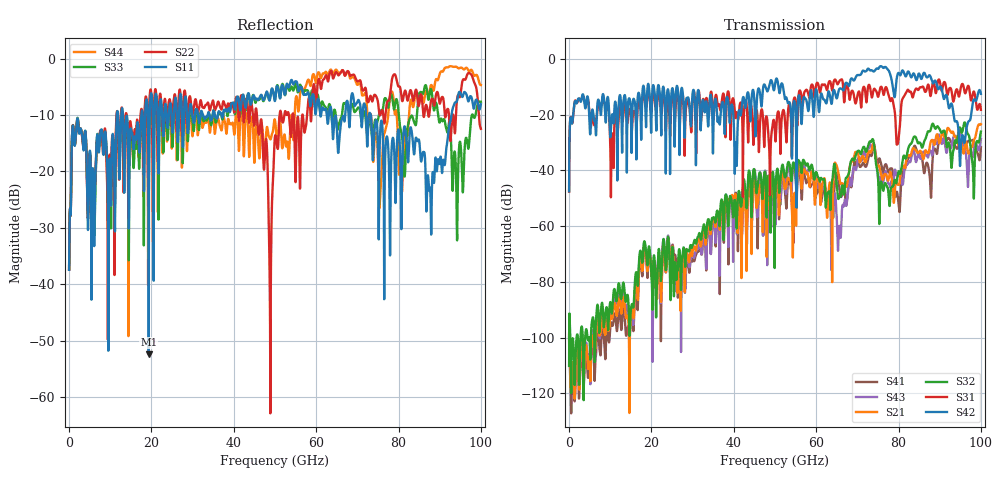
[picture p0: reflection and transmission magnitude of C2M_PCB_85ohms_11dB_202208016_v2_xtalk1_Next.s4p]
! Info: Touchstone file created by Circ.  Input file=Intel_C2M_200G_2p0in_202208016_staggered.circ
# Hz S RI R 50
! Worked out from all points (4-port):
!   10000 points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, 10 MHz to 100 GHz, reference 50 ohm
!   strongest paths, dB at 10 MHz, 25.01 GHz, 50.01 GHz, 75.01 GHz, 100 GHz:
!     S42: -47.5, -10.7, -9.1, -3.6, -12.6
!     S31: -47.6, -12.7, -27.1, -13.6, -18.3
!     S32: -110.1, -68.7, -53.3, -42.4, -26.1
!     S21: -99.3, -67.8, -48.3, -38.4, -23.5
!     S43: -99.7, -68.2, -56.1, -42.7, -28.8
!     S41: -98.7, -67.7, -50.8, -37.6, -31.8
!   lowest |S11| = -52.4 dB at 19.35 GHz (marker M1), VSWR 1.00, Z = 49.9 - j0.211 ohm
!   |S11| at or under -10 dB: start of sweep to 11.61 GHz; 13.06 GHz to 17.56 GHz (4.502 GHz wide, 29.4 % of centre); 73.28 GHz to 92.87 GHz (19.59 GHz wide, 23.6 % of centre)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
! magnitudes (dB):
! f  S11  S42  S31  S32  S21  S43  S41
! 10 MHz  -37.5  -47.5  -47.6  -110.1  -99.3  -99.7  -98.7
! 19.35 GHz  -52.4  -9.8  -11.6  -67.5  -69.0  -68.5  -70.3
! 44.32 GHz  -7.7  -14.3  -17.4  -56.8  -70.0  -51.8  -52.5
! 48.86 GHz  -6.9  -8.1  -38.6  -54.5  -55.2  -46.2  -49.9
! 63.51 GHz  -8.6  -14.9  -8.5  -53.2  -45.8  -55.4  -46.5
! 75.52 GHz  -13.4  -2.7  -10.6  -46.9  -40.1  -43.1  -36.2
! 100 GHz  -8.1  -12.6  -18.3  -26.1  -23.5  -28.8  -31.8
